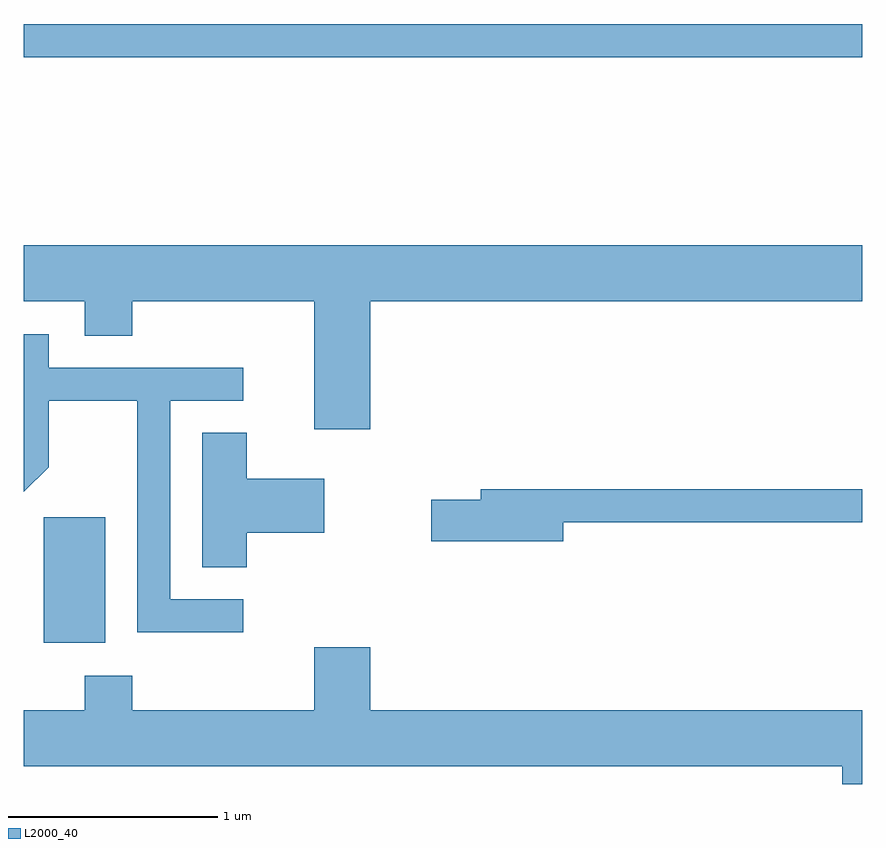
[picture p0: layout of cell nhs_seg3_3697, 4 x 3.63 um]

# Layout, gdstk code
import gdstk
lib = gdstk.Library(unit=1e-6, precision=1e-09)
def R(c, l, rs):  # rectangles x0, y0, x1, y1
    for r in rs: c.add(gdstk.rectangle(r[:2], r[2:], *l))
def P(c, l, *ps):  # polygons
    for p in ps: c.add(gdstk.Polygon(p, *l))
L2000_40 = (2000, 40)

nhs_seg3_3697 = lib.new_cell('nhs_seg3_3697')
R(nhs_seg3_3697, L2000_40, [(293.706,1166.566,293.999,1167.164), (293.611,1169.361,297.611,1169.519)])
P(nhs_seg3_3697, L2000_40, [(295.264,1168.196),(297.611,1168.196),(297.611,1168.464),(293.611,1168.464),(293.611,1168.196),(293.901,1168.196),(293.901,1168.031),(294.129,1168.031),(294.129,1168.196),(294.996,1168.196),(294.996,1167.586),(295.264,1167.586)],
  [(294.658,1166.774),(294.309,1166.774),(294.309,1167.721),(294.658,1167.721),(294.658,1167.879),(293.729,1167.879),(293.729,1168.039),(293.611,1168.039),(293.611,1167.286),(293.729,1167.404),(293.729,1167.721),(294.151,1167.721),(294.151,1166.616),(294.658,1166.616)],
  [(294.674,1167.091),(295.044,1167.091),(295.044,1167.349),(294.674,1167.349),(294.674,1167.569),(294.461,1167.569),(294.461,1166.926),(294.674,1166.926)],
  [(296.184,1167.141),(297.611,1167.141),(297.611,1167.299),(295.791,1167.299),(295.791,1167.249),(295.556,1167.249),(295.556,1167.051),(296.184,1167.051)],
  [(297.611,1166.244),(295.264,1166.244),(295.264,1166.544),(294.996,1166.544),(294.996,1166.244),(294.129,1166.244),(294.129,1166.409),(293.901,1166.409),(293.901,1166.244),(293.611,1166.244),(293.611,1165.976),(297.516,1165.976),(297.516,1165.892),(297.611,1165.892)])

lib.write_gds('nhs_seg3_3697.gds')
